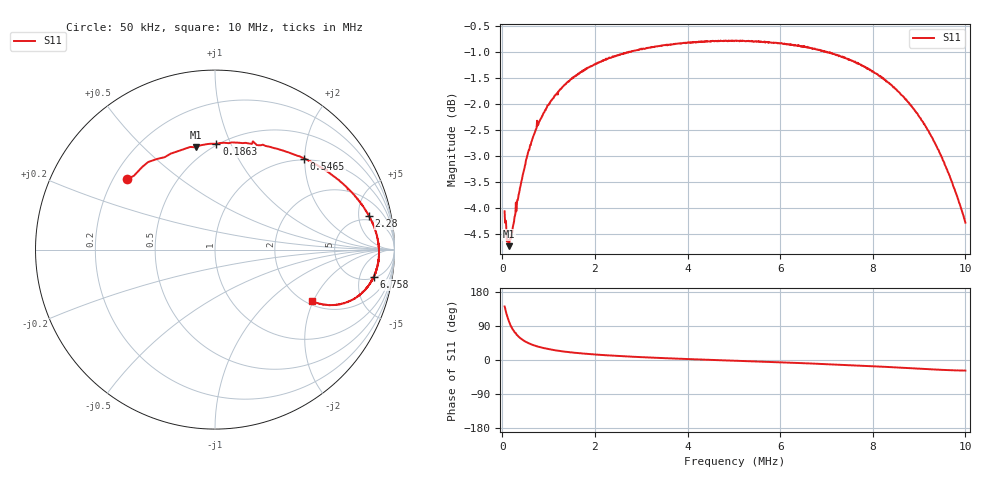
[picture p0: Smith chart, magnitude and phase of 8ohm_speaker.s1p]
# HZ S RI R 50
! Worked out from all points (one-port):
!   1023 points, 50 kHz to 10 MHz, reference 50 ohm
!   lowest |S11| = -4.7 dB at 147.4 kHz (marker M1), VSWR 3.76, Z = 21.4 + j36.7 ohm
!   |S11| at or under -10 dB: nowhere
!   S11 on the Smith chart (normalised r, x): 50 kHz: 0.26, +0.33; 186.3 kHz: 0.49, +0.88; 546.5 kHz: 0.97, +1.99; 2.28 MHz: 4.20, +6.81; 6.758 MHz: 5.36, -8.36; 10 MHz: 2.14, -1.95
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50000  -0.4893 0.3917
79208  -0.3727 0.4878
118152  -0.2102 0.5472
147360  -0.1074 0.5701
186304  0.00735 0.5894
215512  0.0777 0.5929
264192  0.1707 0.5948
303136  0.2343 0.5813
351816  0.3089 0.5719
439440  0.4074 0.5425
546536  0.4974 0.5075
702312  0.5888 0.4586
848352  0.6486 0.4177
1023600  0.701 0.376
1296208  0.7601 0.3211
1724592  0.8172 0.253
2279544  0.8584 0.1855
2542416  0.8715 0.16
3788624  0.9067 0.0555
5025096  0.914 -0.0315
6271304  0.8983 -0.1168
6758104  0.8847 -0.1516
7517512  0.8514 -0.2064
8189296  0.8035 -0.2547
8763720  0.7437 -0.2885
9454976  0.6405 -0.3099
9756792  0.5857 -0.3025
1.000019e7  0.5403 -0.2856
